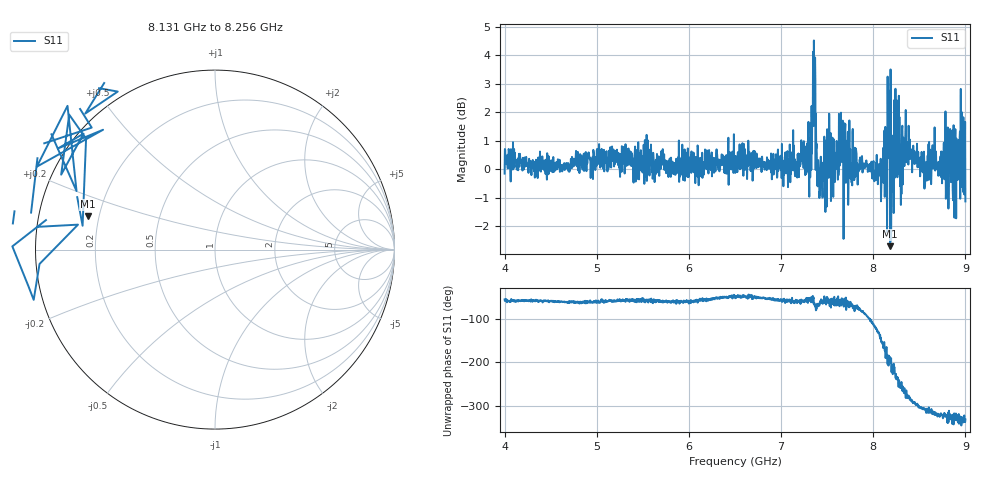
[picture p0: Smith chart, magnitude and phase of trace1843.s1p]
! Created with skrf 1.8.0 (http://scikit-rf.org).
# Hz S RI R 50.0
!freq ReS11 ImS11
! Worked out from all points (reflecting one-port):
!   1601 points, 4 GHz to 9 GHz, reference 50 ohm
!   lowest |S11| = -2.7 dB at 8.184 GHz (marker M1), VSWR 6.47, Z = 7.85 + j6.31 ohm
!   phase of S11 starts at -55 deg and turns -276 deg over the sweep
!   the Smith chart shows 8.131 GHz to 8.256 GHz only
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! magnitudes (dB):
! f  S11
! 4 GHz  -0.2
! 4.625 GHz  -0.1
! 5.25 GHz  0.0
! 5.875 GHz  0.2
! 6.5 GHz  0.0
! 7.125 GHz  0.2
! 7.294 GHz  1.2
! 7.328 GHz  0.0
! 7.347 GHz  4.1
! 7.369 GHz  3.9
! 7.4 GHz  0.3
! 7.416 GHz  -1.0
! 7.65 GHz  2.0
! 7.75 GHz  0.7
! 8.066 GHz  0.2
! 8.128 GHz  0.1
! 8.156 GHz  3.3
! 8.184 GHz  -2.7
! 8.209 GHz  0.3
! 8.253 GHz  0.9
! 8.316 GHz  1.5
! 8.334 GHz  0.9
! 8.375 GHz  0.9
! 8.556 GHz  -0.7
! 8.834 GHz  1.4
! 8.919 GHz  -0.3
! 8.959 GHz  2.0
! 9 GHz  -1.1
